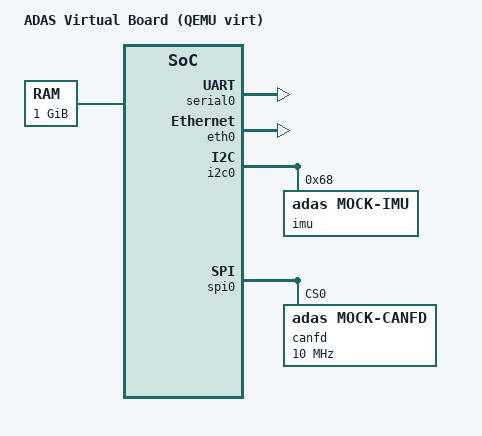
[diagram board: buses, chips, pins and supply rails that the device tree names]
/dts-v1/;
#include <dt-bindings/gpio/gpio.h>
#include <dt-bindings/interrupt-controller/irq.h>
/ {
  model = "ADAS Virtual Board (QEMU virt)";
  compatible = "adas,virt", "arm,virt";
  #address-cells = <2>; #size-cells = <2>;
  chosen { stdout-path = "serial0:115200n8"; bootargs = "console=ttyAMA0 root=/dev/vda rw"; };
  memory@40000000 { device_type = "memory"; reg = <0x0 0x40000000 0x0 0x40000000>; };
  soc {
    compatible = "simple-bus"; #address-cells = <2>; #size-cells = <2>; ranges;
    serial0: serial@9000000 { compatible = "arm,pl011", "arm,primecell"; reg = <0x0 0x09000000 0x0 0x1000>; clock-frequency = <24000000>; };
    eth0: ethernet@a000000 { compatible = "virtio,mmio"; reg = <0x0 0x0a000000 0x0 0x200>; /* ponytail: virtio-net placeholder MAC, real MAC/PHY on silicon */ mac-address = [ 52 54 00 12 34 56 ]; };
    i2c0: i2c@b000000 { compatible = "arm,versatile-i2c"; reg = <0x0 0x0b000000 0x0 0x1000>; #address-cells = <1>; #size-cells = <0>;
      imu@68 { compatible = "adas,mock-imu"; reg = <0x68>; interrupt-parent = <&gic>; interrupts = <0 42 4>; };
    };
    spi0: spi@c000000 { compatible = "arm,pl022", "arm,primecell"; reg = <0x0 0x0c000000 0x0 0x1000>; #address-cells = <1>; #size-cells = <0>;
      canfd@0 { compatible = "adas,mock-canfd"; reg = <0>; spi-max-frequency = <10000000>; interrupt-parent = <&gic>; interrupts = <0 43 4>; };
    };
    gpio0: gpio@d000000 { compatible = "arm,pl061", "arm,primecell"; reg = <0x0 0x0d000000 0x0 0x1000>; gpio-controller; #gpio-cells = <2>;
      cam_triggers { /* camera trigger lines 0..3 */ };
    };
    gic: interrupt-controller@8000000 { compatible = "arm,gic-400"; reg = <0x0 0x08000000 0x0 0x10000>, <0x0 0x08010000 0x0 0x10000>; interrupt-controller; #interrupt-cells = <3>; };
  };
};
